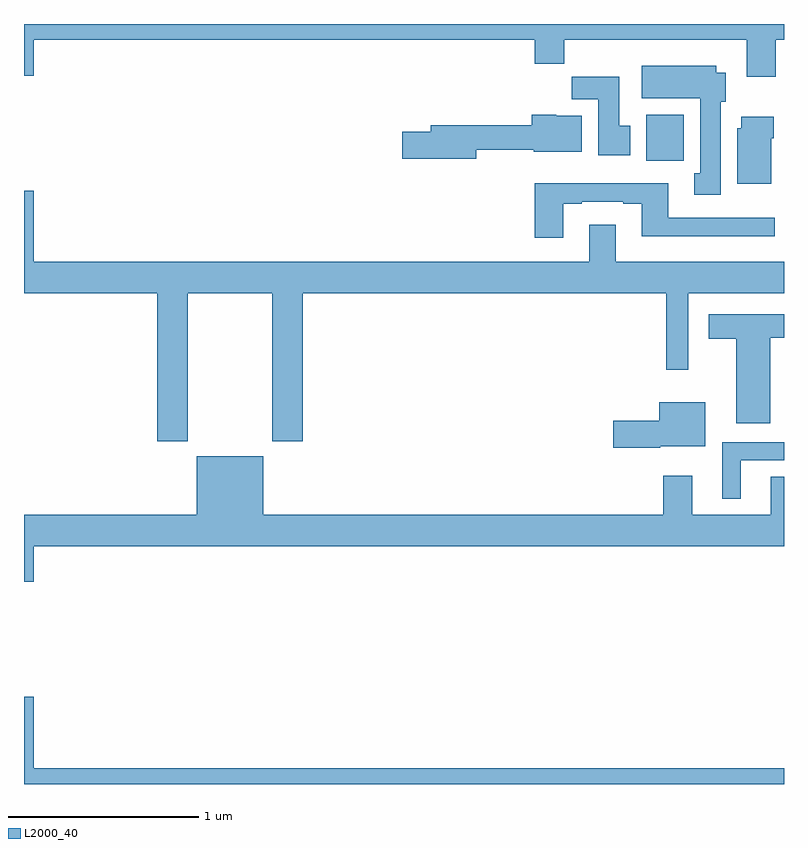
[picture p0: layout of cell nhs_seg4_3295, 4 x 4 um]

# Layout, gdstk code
import gdstk
lib = gdstk.Library(unit=1e-6, precision=1e-09)
def R(c, l, rs):  # rectangles x0, y0, x1, y1
    for r in rs: c.add(gdstk.rectangle(r[:2], r[2:], *l))
def P(c, l, *ps):  # polygons
    for p in ps: c.add(gdstk.Polygon(p, *l))
L2000_40 = (2000, 40)

nhs_seg4_3295 = lib.new_cell('nhs_seg4_3295')
R(nhs_seg4_3295, L2000_40, [(288.275,800.18,288.472,800.422)])
P(nhs_seg4_3295, L2000_40, [(288.956,800.816),(289,800.816),(289,800.9),(285,800.9),(285,800.628),(285.052,800.628),(285.052,800.816),(287.687,800.816),(287.687,800.692),(287.843,800.692),(287.843,800.816),(288.803,800.816),(288.803,800.622),(288.956,800.622)],
  [(288.667,800.49),(288.694,800.49),(288.694,800.644),(288.643,800.644),(288.643,800.68),(288.251,800.68),(288.251,800.51),(288.56,800.51),(288.56,800.114),(288.527,800.114),(288.527,800.001),(288.667,800.001)],
  [(288.19,800.364),(288.133,800.364),(288.133,800.622),(287.884,800.622),(287.884,800.504),(288.023,800.504),(288.023,800.208),(288.19,800.208)],
  [(287.38,800.239),(287.684,800.239),(287.684,800.228),(287.935,800.228),(287.935,800.416),(287.802,800.416),(287.802,800.422),(287.672,800.422),(287.672,800.368),(287.141,800.368),(287.141,800.334),(286.992,800.334),(286.992,800.192),(287.38,800.192)],
  [(288.934,800.3),(288.947,800.3),(288.947,800.413),(288.776,800.413),(288.776,800.352),(288.755,800.352),(288.755,800.06),(288.934,800.06)],
  [(287.839,799.953),(287.935,799.953),(287.935,799.965),(288.155,799.965),(288.155,799.953),(288.251,799.953),(288.251,799.784),(288.952,799.784),(288.952,799.881),(288.391,799.881),(288.391,800.062),(287.687,800.062),(287.687,799.776),(287.839,799.776)],
  [(285.861,799.484),(286.306,799.484),(286.306,798.705),(286.466,798.705),(286.466,799.484),(288.379,799.484),(288.379,799.08),(288.495,799.08),(288.495,799.484),(289,799.484),(289,799.648),(288.115,799.648),(288.115,799.843),(287.975,799.843),(287.975,799.648),(285.052,799.648),(285.052,800.023),(285,800.023),(285,799.484),(285.701,799.484),(285.701,798.705),(285.861,798.705)],
  [(288.928,799.25),(289,799.25),(289,799.372),(288.603,799.372),(288.603,799.243),(288.749,799.243),(288.749,798.8),(288.928,798.8)],
  [(288.348,798.677),(288.586,798.677),(288.586,798.91),(288.344,798.91),(288.344,798.812),(288.102,798.812),(288.102,798.67),(288.348,798.67)],
  [(288.772,798.603),(289,798.603),(289,798.699),(288.674,798.699),(288.674,798.402),(288.772,798.402)],
  [(285.052,798.152),(289,798.152),(289,798.518),(288.929,798.518),(288.929,798.316),(288.517,798.316),(288.517,798.523),(288.365,798.523),(288.365,798.316),(286.258,798.316),(286.258,798.625),(285.908,798.625),(285.908,798.316),(285,798.316),(285,797.964),(285.052,797.964)],
  [(289,796.984),(285.052,796.984),(285.052,797.359),(285,797.359),(285,796.9),(289,796.9)])

lib.write_gds('nhs_seg4_3295.gds')
